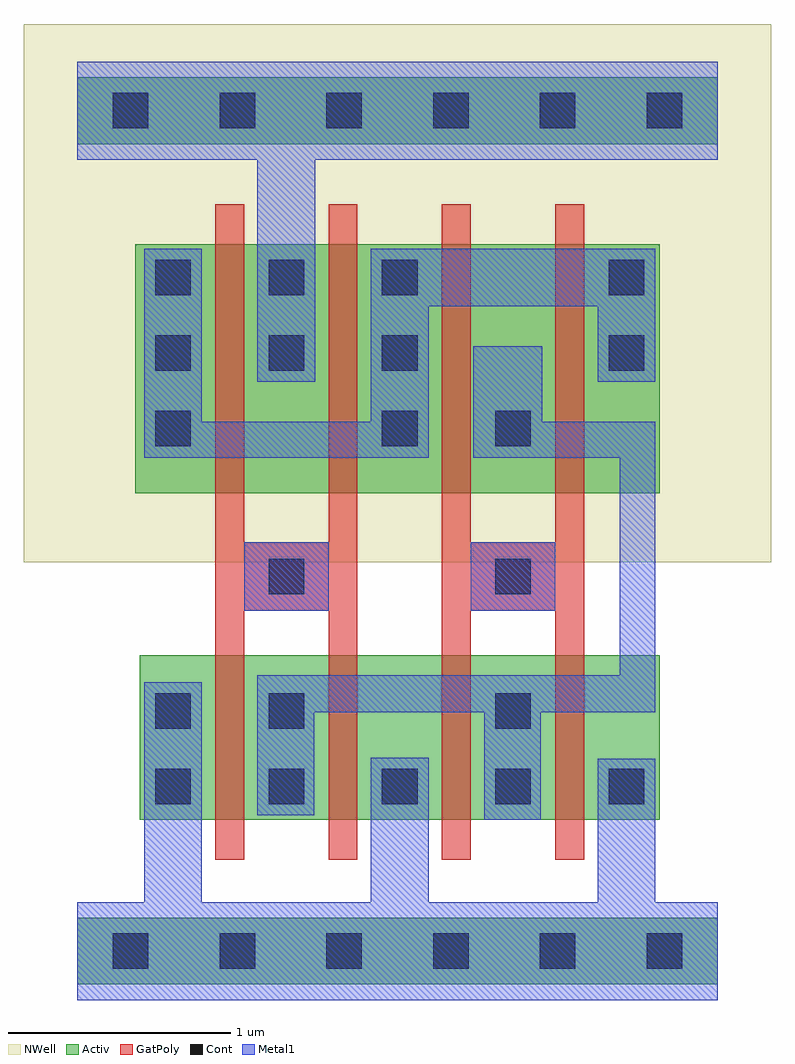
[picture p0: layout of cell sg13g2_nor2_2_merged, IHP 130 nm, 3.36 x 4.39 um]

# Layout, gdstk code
import gdstk
lib = gdstk.Library(unit=1e-6, precision=1e-09)
def R(c, l, rs):  # rectangles x0, y0, x1, y1
    for r in rs: c.add(gdstk.rectangle(r[:2], r[2:], *l))
def A(c, l, x, y, w, h, nx, ny, dx, dy):  # array of equal rectangles
    R(c, l, [(x+i*dx, y+j*dy, x+i*dx+w, y+j*dy+h) for i in range(nx) for j in range(ny)])
def P(c, l, *ps):  # polygons
    for p in ps: c.add(gdstk.Polygon(p, *l))
Activ = (1, 0)
GatPoly = (5, 0)
Cont = (6, 0)
Metal1 = (8, 0)
NWell = (31, 0)

sg13g2_nor2_2_merged = lib.new_cell('sg13g2_nor2_2_merged')
R(sg13g2_nor2_2_merged, Activ, [(0,-0.15,2.88,0.15), (0.28,0.59,2.62,1.33), (0.26,2.06,2.62,3.18), (0,3.63,2.88,3.93)])
P(sg13g2_nor2_2_merged, GatPoly, [(0.62,0.41),(0.62,3.36),(0.75,3.36),(0.75,1.84),(1.13,1.84),(1.13,3.36),(1.26,3.36),(1.26,0.41),(1.13,0.41),(1.13,1.53),(0.75,1.53),(0.75,0.41)],
  [(1.64,0.41),(1.64,3.36),(1.77,3.36),(1.77,1.84),(2.15,1.84),(2.15,3.36),(2.28,3.36),(2.28,0.41),(2.15,0.41),(2.15,1.53),(1.77,1.53),(1.77,0.41)])
A(sg13g2_nor2_2_merged, Cont, 0.16, -0.08, 0.16, 0.16, 6, 2, 0.48, 3.78)
A(sg13g2_nor2_2_merged, Cont, 0.35, 0.66, 0.16, 0.16, 5, 1, 0.51, 0)
A(sg13g2_nor2_2_merged, Cont, 0.35, 2.61, 0.16, 0.16, 3, 2, 0.51, 0.34)
R(sg13g2_nor2_2_merged, Cont, [(0.35,1,0.51,1.16), (0.86,1,1.02,1.16), (1.88,1,2.04,1.16), (0.86,1.605,1.02,1.765), (1.88,1.605,2.04,1.765), (0.35,2.27,0.51,2.43), (1.37,2.27,1.53,2.43), (1.88,2.27,2.04,2.43), (2.39,2.61,2.55,2.77), (2.39,2.95,2.55,3.11)])
R(sg13g2_nor2_2_merged, Metal1, [(0.75,1.53,1.13,1.84), (1.77,1.53,2.15,1.84)])
P(sg13g2_nor2_2_merged, Metal1, [(0,-0.22),(0,0.22),(0.3,0.22),(0.3,1.21),(0.56,1.21),(0.56,0.22),(1.32,0.22),(1.32,0.87),(1.58,0.87),(1.58,0.22),(2.34,0.22),(2.34,0.865),(2.6,0.865),(2.6,0.22),(2.88,0.22),(2.88,-0.22)],
  [(1.83,0.59),(1.83,1.075),(1.065,1.075),(1.065,0.61),(0.81,0.61),(0.81,1.24),(2.44,1.24),(2.44,2.22),(1.78,2.22),(1.78,2.72),(2.09,2.72),(2.09,2.38),(2.6,2.38),(2.6,1.075),(2.085,1.075),(2.085,0.59)],
  [(0.3,2.22),(0.3,3.16),(0.56,3.16),(0.56,2.38),(1.32,2.38),(1.32,3.16),(2.6,3.16),(2.6,2.56),(2.34,2.56),(2.34,2.9),(1.58,2.9),(1.58,2.22)],
  [(0.81,2.56),(0.81,3.56),(0,3.56),(0,4),(2.88,4),(2.88,3.56),(1.07,3.56),(1.07,2.56)])
R(sg13g2_nor2_2_merged, NWell, [(-0.24,1.75,3.12,4.17)])

lib.write_gds('sg13g2_nor2_2_merged.gds')
